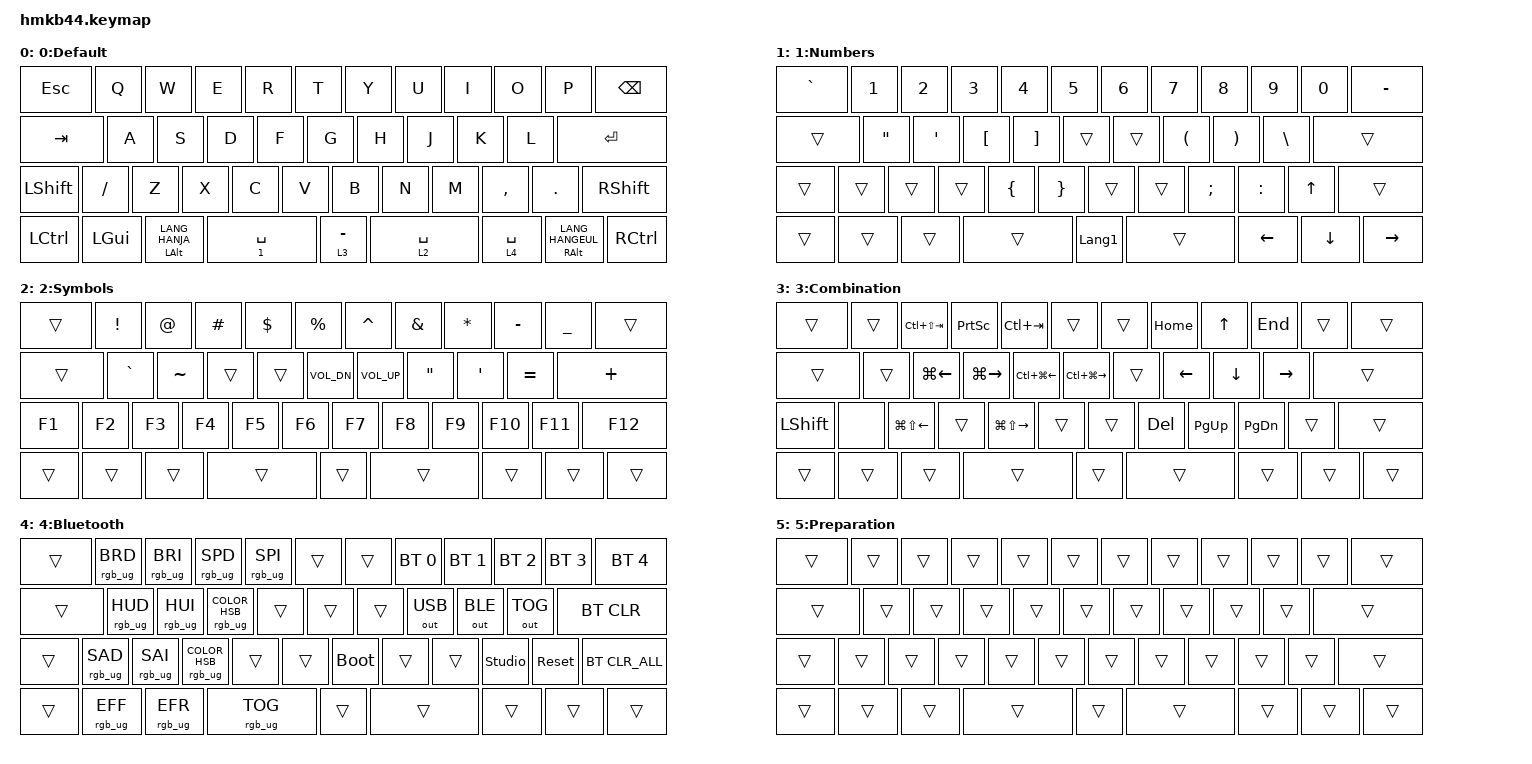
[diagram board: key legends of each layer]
#include <physical_layouts.dtsi>
#include <behaviors.dtsi>
#include <dt-bindings/zmk/bt.h>
#include <dt-bindings/zmk/keys.h>
#include <dt-bindings/zmk/outputs.h>
#include <dt-bindings/zmk/rgb.h>

/ {
    behaviors {
        // レイヤーインジケータ
        rlt_red: rgb_layer_tap_red {
            compatible = "zmk,behavior-hold-tap";
            #binding-cells = <2>;
            flavor = "tap-preferred";
            tapping-term-ms = <100>;
            bindings = <&rmo_red>, <&kp>;
            quick-tap-ms = <150>;
        };
        rmo_red: rgb_mo_red {
            compatible = "zmk,behavior-macro-one-param";
            wait-ms = <0>;
            tap-ms = <0>;
            #binding-cells = <1>;
            bindings
                = <&macro_param_1to1>
                , <&macro_press &mo MACRO_PLACEHOLDER>
                , <&macro_tap &rgb_ug RGB_ON>
                , <&macro_tap &rgb_ug RGB_COLOR_HSB(0,20,20)>
                , <&macro_pause_for_release>
                , <&macro_param_1to1>
                , <&macro_release &mo MACRO_PLACEHOLDER>
                , <&macro_tap &rgb_ug RGB_OFF>
                ;
        };
        rmt_orange: rgb_mod_tap_orange {
            compatible = "zmk,behavior-hold-tap";
            #binding-cells = <2>;
            flavor = "hold-preferred";
            tapping-term-ms = <100>;
            bindings = <&rkp_orange>, <&kp>;
            quick-tap-ms = <150>;
        };
        rkp_orange: rgb_kp_orange {
            compatible = "zmk,behavior-macro-one-param";
            wait-ms = <0>;
            tap-ms = <0>;
            #binding-cells = <1>;
            bindings
                = <&macro_param_1to1>
                , <&macro_press &kp MACRO_PLACEHOLDER>
                , <&macro_tap &rgb_ug RGB_ON>
                , <&macro_tap &rgb_ug RGB_COLOR_HSB(15,20,20)>
                , <&macro_pause_for_release>
                , <&macro_param_1to1>
                , <&macro_release &kp MACRO_PLACEHOLDER>
                , <&macro_tap &rgb_ug RGB_OFF>
                ;
        };
        mt: mod_tap {
            compatible = "zmk,behavior-hold-tap";
            #binding-cells = <2>;
            flavor = "hold-preferred";
            tapping-term-ms = <200>;
            bindings = <&kp>, <&kp>;

            display-name = "Mod-Tap";
        };

        lt: layer_tap {
            compatible = "zmk,behavior-hold-tap";
            #binding-cells = <2>;
            flavor = "tap-preferred";
            tapping-term-ms = <200>;
            bindings = <&mo>, <&kp>;

            display-name = "Layer-Tap";
        };
    };

    chosen { zmk,physical-layout = &layout_US; };

    layout_US: layout_US {
        compatible = "zmk,physical-layout";
        display-name = "US";
        transform = <&default_transform>;
        kscan = <&kscan0>;

        //                         w   h    x    y     rot    rx    ry

        keys =
            <&key_physical_attrs 150 100    0    0       0     0     0>,
            <&key_physical_attrs 100 100  150    0       0   150     0>,
            <&key_physical_attrs 100 100  250    0       0   250     0>,
            <&key_physical_attrs 100 100  350    0       0   350     0>,
            <&key_physical_attrs 100 100  450    0       0   450     0>,
            <&key_physical_attrs 100 100  550    0       0   550     0>,
            <&key_physical_attrs 100 100  650    0       0   650     0>,
            <&key_physical_attrs 100 100  750    0       0   750     0>,
            <&key_physical_attrs 100 100  850    0       0   850     0>,
            <&key_physical_attrs 100 100  950    0       0   950     0>,
            <&key_physical_attrs 100 100 1050    0       0  1050     0>,
            <&key_physical_attrs 150 100 1150    0       0  1150     0>,
            <&key_physical_attrs 175 100    0  100       0     0   100>,
            <&key_physical_attrs 100 100  175  100       0   175   100>,
            <&key_physical_attrs 100 100  275  100       0   275   100>,
            <&key_physical_attrs 100 100  375  100       0   375   100>,
            <&key_physical_attrs 100 100  475  100       0   475   100>,
            <&key_physical_attrs 100 100  575  100       0   575   100>,
            <&key_physical_attrs 100 100  675  100       0   675   100>,
            <&key_physical_attrs 100 100  775  100       0   775   100>,
            <&key_physical_attrs 100 100  875  100       0   875   100>,
            <&key_physical_attrs 100 100  975  100       0   975   100>,
            <&key_physical_attrs 225 100 1075  100       0  1075   100>,
            <&key_physical_attrs 125 100    0  200       0     0   200>,
            <&key_physical_attrs 100 100  125  200       0   125   200>,
            <&key_physical_attrs 100 100  225  200       0   225   200>,
            <&key_physical_attrs 100 100  325  200       0   325   200>,
            <&key_physical_attrs 100 100  425  200       0   425   200>,
            <&key_physical_attrs 100 100  525  200       0   525   200>,
            <&key_physical_attrs 100 100  625  200       0   625   200>,
            <&key_physical_attrs 100 100  725  200       0   725   200>,
            <&key_physical_attrs 100 100  825  200       0   825   200>,
            <&key_physical_attrs 100 100  925  200       0   925   200>,
            <&key_physical_attrs 100 100 1025  200       0  1025   200>,
            <&key_physical_attrs 175 100 1125  200       0  1125   200>,
            <&key_physical_attrs 125 100    0  300       0     0   300>,
            <&key_physical_attrs 125 100  125  300       0   125   300>,
            <&key_physical_attrs 125 100  250  300       0   250   300>,
            <&key_physical_attrs 225 100  375  300       0   375   300>,
            <&key_physical_attrs 100 100  600  300       0   600   300>,
            <&key_physical_attrs 225 100  700  300       0   700   300>,
            <&key_physical_attrs 125 100  925  300       0   925   300>,
            <&key_physical_attrs 125 100 1050  300       0  1050   300>,
            <&key_physical_attrs 125 100 1175  300       0  1175   300>;
    };

    position_map {
        compatible = "zmk,physical-layout-position-map";
        complete;

        layout_US {
            physical-layout = <&layout_US>;
            positions =
                < 0  1  2  3  4  5  6  7  8  9 10 11>,
                <12 13 14 15 16 17 18 19 20 21 22>,
                <23 24 25 26 27 28 29 30 31 32 33 34>,
                <35 36 36 37 38 39 40 41 42 43>;
        };
    };

    combos {
        compatible = "zmk,combos";

        cb_minus {
            bindings = <&kp MINUS>;
            key-positions = <10 11>;
            layers = <0>;
        };

        cb_eisu {
            bindings = <&kp LANGUAGE_2>;
            key-positions = <15 16>;
        };

        cb_kana {
            bindings = <&kp LANGUAGE_1>;
            key-positions = <19 20>;
        };
    };

    keymap {
        compatible = "zmk,keymap";

        default_layer {
            display-name = "0:Default";
            bindings = <
&kp ESCAPE      &kp Q      &kp W                &kp E        &kp R        &kp T        &kp Y        &kp U                  &kp I      &kp O      &kp P      &kp BACKSPACE
&kp TAB         &kp A      &kp S                &kp D        &kp F        &kp G        &kp H        &kp J                  &kp K      &kp L      &kp ENTER
&kp LEFT_SHIFT  &kp SLASH  &kp Z                &kp X        &kp C        &kp V        &kp B        &kp N                  &kp M      &kp COMMA  &kp DOT    &kp RIGHT_SHIFT
&kp LCTRL       &kp LGUI   &rmt_orange LALT LANG_HANJA  &rlt_red 1 SPACE  &lt 3 MINUS  &lt 2 SPACE  &lt 4 SPACE  &mt RALT LANG_HANGEUL  &kp RCTRL
            >;
        };

        layer_1 {
            display-name = "1:Numbers";
            bindings = <
&kp GRAVE  &kp NUMBER_1       &kp NUMBER_2  &kp NUMBER_3      &kp NUMBER_4       &kp NUMBER_5     &kp NUMBER_6    &kp NUMBER_7          &kp NUMBER_8           &kp NUMBER_9   &kp NUMBER_0  &kp MINUS
&trans     &kp DOUBLE_QUOTES  &kp SQT       &kp LEFT_BRACKET  &kp RIGHT_BRACKET  &trans           &trans          &kp LEFT_PARENTHESIS  &kp RIGHT_PARENTHESIS  &kp BACKSLASH  &trans
&trans     &trans             &trans        &trans            &kp LEFT_BRACE     &kp RIGHT_BRACE  &trans          &trans                &kp SEMICOLON          &kp COLON      &kp UP_ARROW  &trans
&trans     &trans             &trans        &trans            &kp LANGUAGE_1     &trans           &kp LEFT_ARROW  &kp DOWN_ARROW        &kp RIGHT_ARROW
            >;
        };

        layer_2 {
            display-name = "2:Symbols";
            bindings = <
&trans  &kp EXCLAMATION  &kp AT_SIGN  &kp POUND  &kp DOLLAR  &kp PERCENT   &kp CARET     &kp AMPERSAND      &kp ASTERISK      &kp MINUS  &kp UNDER  &trans
&trans  &kp GRAVE        &kp TILDE    &trans     &trans      &kp C_VOL_DN  &kp C_VOL_UP  &kp DOUBLE_QUOTES  &kp SINGLE_QUOTE  &kp EQUAL  &kp PLUS
&kp F1  &kp F2           &kp F3       &kp F4     &kp F5      &kp F6        &kp F7        &kp F8             &kp F9            &kp F10    &kp F11    &kp F12
&trans  &trans           &trans       &trans     &trans      &trans        &trans        &trans             &trans
            >;
        };

        layer_3 {
            display-name = "3:Combination";
            bindings = <
&trans          &trans  &kp LC(LS(TAB))         &kp PRINTSCREEN      &kp LC(TAB)              &trans                   &trans  &kp HOME        &kp UP_ARROW    &kp END          &trans  &trans
&trans          &trans  &kp LG(LEFT_ARROW)      &kp LG(RIGHT_ARROW)  &kp LC(LG(LEFT_ARROW))   &kp LC(LG(RIGHT_ARROW))  &trans  &kp LEFT_ARROW  &kp DOWN_ARROW  &kp RIGHT_ARROW  &trans
&kp LEFT_SHIFT  &none   &kp LG(LS(LEFT_ARROW))  &trans               &kp LG(LS(RIGHT_ARROW))  &trans                   &trans  &kp DELETE      &kp PAGE_UP     &kp PAGE_DOWN    &trans  &trans
&trans          &trans  &trans                  &trans               &trans                   &trans                   &trans  &trans          &trans
            >;
        };

        layer_4 {
            display-name = "4:Bluetooth";
            bindings = <
&trans  &rgb_ug RGB_BRD  &rgb_ug RGB_BRI  &rgb_ug RGB_SPD                     &rgb_ug RGB_SPI  &trans  &trans       &bt BT_SEL 0  &bt BT_SEL 1  &bt BT_SEL 2    &bt BT_SEL 3  &bt BT_SEL 4
&trans  &rgb_ug RGB_HUD  &rgb_ug RGB_HUI  &rgb_ug RGB_COLOR_HSB(0,0,100)      &trans           &trans  &trans       &out OUT_USB  &out OUT_BLE  &out OUT_TOG    &bt BT_CLR
&trans  &rgb_ug RGB_SAD  &rgb_ug RGB_SAI  &rgb_ug RGB_COLOR_HSB(224,100,100)  &trans           &trans  &bootloader  &trans        &trans        &studio_unlock  &sys_reset    &bt BT_CLR_ALL
&trans  &rgb_ug RGB_EFF  &rgb_ug RGB_EFR  &rgb_ug RGB_TOG                     &trans           &trans  &trans       &trans        &trans
            >;
        };

        layer_5 {
            display-name = "5:Preparation";
            bindings = <
&trans  &trans  &trans  &trans  &trans  &trans  &trans  &trans  &trans  &trans  &trans  &trans
&trans  &trans  &trans  &trans  &trans  &trans  &trans  &trans  &trans  &trans  &trans
&trans  &trans  &trans  &trans  &trans  &trans  &trans  &trans  &trans  &trans  &trans  &trans
&trans  &trans  &trans  &trans  &trans  &trans  &trans  &trans  &trans
            >;
        };
    };
};
